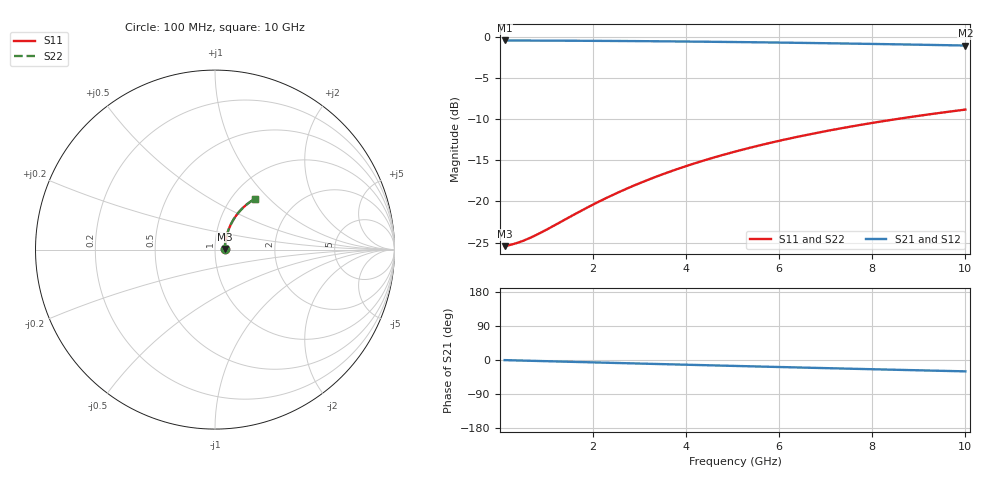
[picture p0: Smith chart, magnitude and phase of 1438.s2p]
# Hz S RI R 50.00
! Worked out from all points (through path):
!   100 points, 100 MHz to 10 GHz, reference 50 ohm
!   highest |S21| = -0.48 dB at 100 MHz (marker M1); lowest = -1.1 dB at 10 GHz (marker M2)
!   group delay of S21, straight-line fit = 8.35 ps
!   lowest |S11| = -25.4 dB at 100 MHz (marker M3), VSWR 1.11, Z = 55.6 + j0.405 ohm
!   |S11| at or under -10 dB: start of sweep to 8.54 GHz
!   |S22| runs from -25.4 to -8.9 dB; largest |S21 - S12| = 0
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1e8  0.0534 0.00363  0.9466 -0.00519  0.9466 -0.00519  0.0534 0.00363
3e8  0.0541 0.0109  0.9459 -0.0156  0.9459 -0.0156  0.0541 0.0109
4e8  0.0544 0.0145  0.9455 -0.0207  0.9455 -0.0207  0.0544 0.0145
5e8  0.0548 0.0181  0.9452 -0.0259  0.9452 -0.0259  0.0548 0.0181
7e8  0.0555 0.0253  0.9444 -0.0363  0.9444 -0.0363  0.0555 0.0253
1e9  0.0569 0.0361  0.943 -0.0517  0.943 -0.0517  0.0569 0.0361
1.8e9  0.0619 0.0645  0.9376 -0.0926  0.9376 -0.0926  0.0619 0.0645
2.2e9  0.0653 0.0784  0.9341 -0.1128  0.9341 -0.1128  0.0653 0.0784
2.6e9  0.0692 0.0922  0.9299 -0.1329  0.9299 -0.1329  0.0692 0.0922
3e9  0.0737 0.1057  0.9251 -0.1527  0.9251 -0.1527  0.0737 0.1057
3.4e9  0.0788 0.119  0.9197 -0.1723  0.9197 -0.1723  0.0788 0.119
3.8e9  0.0844 0.132  0.9138 -0.1915  0.9138 -0.1915  0.0844 0.132
4.2e9  0.0905 0.1447  0.9072 -0.2105  0.9072 -0.2105  0.0905 0.1447
4.6e9  0.0971 0.1571  0.9002 -0.2292  0.9002 -0.2292  0.0971 0.1571
5.1e9  0.106 0.172  0.8906 -0.252  0.8906 -0.252  0.106 0.172
5.5e9  0.1137 0.1836  0.8824 -0.2698  0.8824 -0.2698  0.1137 0.1836
5.9e9  0.1218 0.1947  0.8738 -0.2873  0.8738 -0.2873  0.1218 0.1947
6.7e9  0.1391 0.2157  0.8551 -0.321  0.8551 -0.321  0.1391 0.2157
7.5e9  0.1579 0.235  0.8349 -0.3529  0.8349 -0.3529  0.1579 0.235
8.4e9  0.1804 0.2544  0.8105 -0.3866  0.8105 -0.3866  0.1804 0.2544
9.2e9  0.2015 0.2696  0.7876 -0.4145  0.7876 -0.4145  0.2015 0.2696
1e10  0.2233 0.2829  0.7638 -0.4406  0.7638 -0.4406  0.2233 0.2829
